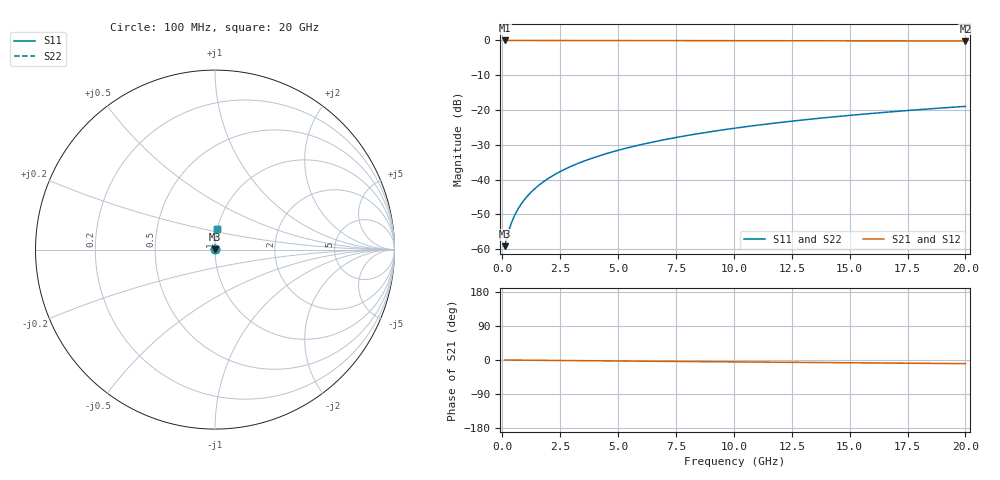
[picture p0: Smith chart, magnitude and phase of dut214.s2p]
! Touchstone file exported from HFSS 2024.1.0
!  File:  C:/UserFiles/LocalFiles/RDL_TSV_Batchsim/temp_RDL_top_214_1778687501.aedt
!  Generated:  11:54:12 PM May 13, 2026
!  Design:  RDL_top
!  Project:  temp_RDL_top_214_1778687501
!  Setup:  Setup1
!  Solution:  Sweep
! Variables:
!  dtsv = 10.80580581um
!  hbump = 3um
!  htsv = 77.58um
!  ldown = 100um
!  lrdl = 109.01um
!  p = 40
!  p1 = 40.8um
!  rhole = 1um
!  t = 450um
!  tdown = 3.915915916um
!  trdl = 3um
!  wdown = 15.38538539um
!  wrdl = 18.48um
# GHz S MA R 50.000000
! Terminal data exported
! Port[1] = Box2_T1
! Port[2] = Box2_T2
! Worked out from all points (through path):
!   200 points, 100 MHz to 20 GHz, reference 50 ohm
!   highest |S21| = -0.01 dB at 100 MHz (marker M1); lowest = -0.2 dB at 20 GHz (marker M2)
!   group delay of S21, straight-line fit = 1.32 ps
!   lowest |S11| = -59.1 dB at 100 MHz (marker M3), VSWR 1.00, Z = 50.1 + j0.0563 ohm
!   |S11| at or under -10 dB: start of sweep to end of sweep
!   |S22| runs from -59.1 to -18.9 dB; largest |S21 - S12| = 5.4e-15
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0.1  0.001105 30.5  0.999 -0.1  0.999 -0.1  0.001105 30.5
! Gamma 0 0 0 0
! Port Impedance 50 0 50 0
0.2  0.00148 48.8  0.999 -0.1  0.999 -0.1  0.00148 48.8
0.3  0.001935 58.7  0.999 -0.2  0.999 -0.2  0.001935 58.7
0.4  0.002413 64.6  0.9989 -0.2  0.9989 -0.2  0.002413 64.6
0.5  0.0029 68.6  0.9989 -0.3  0.9989 -0.3  0.0029 68.6
0.6  0.00339 71.4  0.9989 -0.3  0.9989 -0.3  0.00339 71.4
0.8  0.004378 75.4  0.9988 -0.4  0.9988 -0.4  0.004378 75.4
1.1  0.005875 79.0  0.9987 -0.6  0.9987 -0.6  0.005875 79.0
1.3  0.006883 80.6  0.9986 -0.7  0.9986 -0.7  0.006883 80.6
1.6  0.008407 82.3  0.9985 -0.8  0.9985 -0.8  0.008407 82.3
2.1  0.01097 84.3  0.9983 -1.1  0.9983 -1.1  0.01097 84.3
2.7  0.01409 85.7  0.998 -1.4  0.998 -1.4  0.01409 85.7
3.5  0.0183 86.9  0.9975 -1.8  0.9975 -1.8  0.0183 86.9
4.2  0.02204 87.5  0.997 -2.2  0.997 -2.2  0.02204 87.5
5  0.02637 88.0  0.9963 -2.6  0.9963 -2.6  0.02637 88.0
5.9  0.03132 88.2  0.9955 -3.0  0.9955 -3.0  0.03132 88.2
6.8  0.03633 88.3  0.9947 -3.5  0.9947 -3.5  0.03633 88.3
8.3  0.04483 88.2  0.9931 -4.2  0.9931 -4.2  0.04483 88.2
10.1  0.05518 87.8  0.9913 -5.1  0.9913 -5.1  0.05518 87.8
13.4  0.07441 86.5  0.9879 -6.6  0.9879 -6.6  0.07441 86.5
16.7  0.09369 84.9  0.9845 -8.1  0.9845 -8.1  0.09369 84.9
20  0.1129 83.3  0.9812 -9.6  0.9812 -9.6  0.1129 83.3
